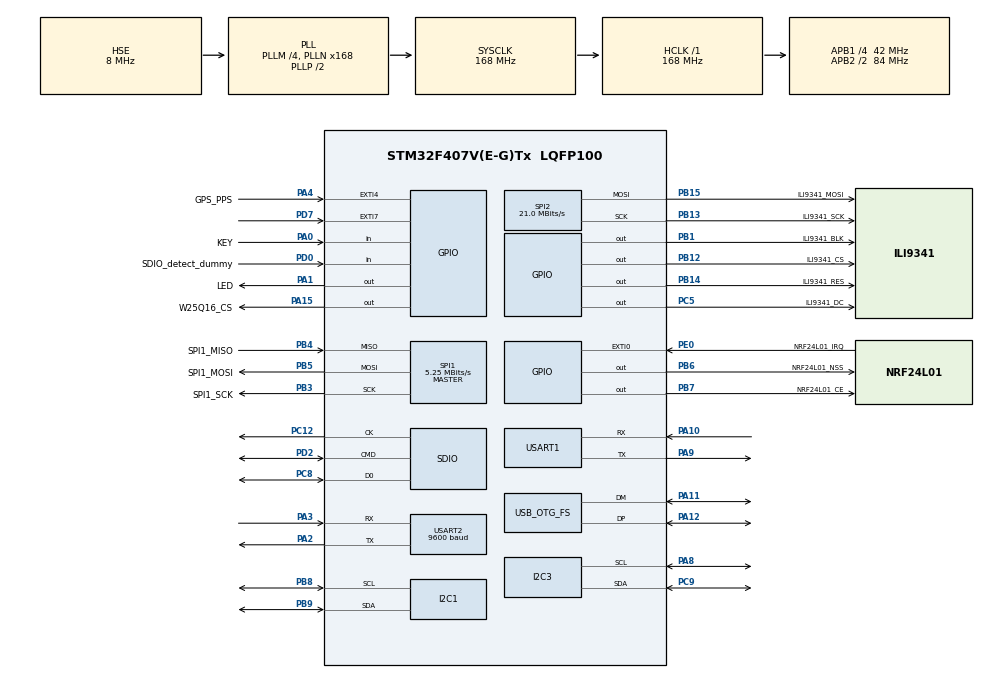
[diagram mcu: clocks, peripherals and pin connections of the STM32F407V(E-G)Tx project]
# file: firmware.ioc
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Dma.I2C1_RX.5.Direction=DMA_PERIPH_TO_MEMORY
Dma.I2C1_RX.5.FIFOMode=DMA_FIFOMODE_DISABLE
Dma.I2C1_RX.5.Instance=DMA1_Stream0
Dma.I2C1_RX.5.MemDataAlignment=DMA_MDATAALIGN_BYTE
Dma.I2C1_RX.5.MemInc=DMA_MINC_ENABLE
Dma.I2C1_RX.5.Mode=DMA_NORMAL
Dma.I2C1_RX.5.PeriphDataAlignment=DMA_PDATAALIGN_BYTE
Dma.I2C1_RX.5.PeriphInc=DMA_PINC_DISABLE
Dma.I2C1_RX.5.Priority=DMA_PRIORITY_LOW
Dma.Request0=USART1_RX
Dma.Request1=USART1_TX
Dma.Request2=SPI2_TX
Dma.Request3=SDIO_RX
Dma.Request4=SDIO_TX
Dma.Request5=I2C1_RX
Dma.Request6=USART2_RX
Dma.Request7=USART2_TX
Dma.SDIO_RX.3.Direction=DMA_PERIPH_TO_MEMORY
Dma.SDIO_RX.3.FIFOMode=DMA_FIFOMODE_ENABLE
Dma.SDIO_RX.3.FIFOThreshold=DMA_FIFO_THRESHOLD_FULL
Dma.SDIO_RX.3.Instance=DMA2_Stream3
Dma.SDIO_RX.3.MemBurst=DMA_MBURST_INC4
Dma.SDIO_RX.3.MemDataAlignment=DMA_MDATAALIGN_WORD
Dma.SDIO_RX.3.MemInc=DMA_MINC_ENABLE
Dma.SDIO_RX.3.Mode=DMA_PFCTRL
Dma.SDIO_RX.3.PeriphBurst=DMA_PBURST_INC4
Dma.SDIO_RX.3.PeriphDataAlignment=DMA_PDATAALIGN_WORD
Dma.SDIO_RX.3.PeriphInc=DMA_PINC_DISABLE
Dma.SDIO_RX.3.Priority=DMA_PRIORITY_HIGH
Dma.SDIO_TX.4.Direction=DMA_MEMORY_TO_PERIPH
Dma.SDIO_TX.4.FIFOMode=DMA_FIFOMODE_ENABLE
Dma.SDIO_TX.4.FIFOThreshold=DMA_FIFO_THRESHOLD_FULL
Dma.SDIO_TX.4.Instance=DMA2_Stream6
Dma.SDIO_TX.4.MemBurst=DMA_MBURST_INC4
Dma.SDIO_TX.4.MemDataAlignment=DMA_MDATAALIGN_WORD
Dma.SDIO_TX.4.MemInc=DMA_MINC_ENABLE
Dma.SDIO_TX.4.Mode=DMA_PFCTRL
Dma.SDIO_TX.4.PeriphBurst=DMA_PBURST_INC4
Dma.SDIO_TX.4.PeriphDataAlignment=DMA_PDATAALIGN_WORD
Dma.SDIO_TX.4.PeriphInc=DMA_PINC_DISABLE
Dma.SDIO_TX.4.Priority=DMA_PRIORITY_HIGH
Dma.SPI2_TX.2.Direction=DMA_MEMORY_TO_PERIPH
Dma.SPI2_TX.2.FIFOMode=DMA_FIFOMODE_DISABLE
Dma.SPI2_TX.2.Instance=DMA1_Stream4
Dma.SPI2_TX.2.MemDataAlignment=DMA_MDATAALIGN_BYTE
Dma.SPI2_TX.2.MemInc=DMA_MINC_ENABLE
Dma.SPI2_TX.2.Mode=DMA_NORMAL
Dma.SPI2_TX.2.PeriphDataAlignment=DMA_PDATAALIGN_BYTE
Dma.SPI2_TX.2.PeriphInc=DMA_PINC_DISABLE
Dma.SPI2_TX.2.Priority=DMA_PRIORITY_LOW
Dma.USART1_RX.0.Direction=DMA_PERIPH_TO_MEMORY
Dma.USART1_RX.0.FIFOMode=DMA_FIFOMODE_DISABLE
Dma.USART1_RX.0.Instance=DMA2_Stream2
Dma.USART1_RX.0.MemDataAlignment=DMA_MDATAALIGN_BYTE
Dma.USART1_RX.0.MemInc=DMA_MINC_ENABLE
Dma.USART1_RX.0.Mode=DMA_CIRCULAR
Dma.USART1_RX.0.PeriphDataAlignment=DMA_PDATAALIGN_BYTE
Dma.USART1_RX.0.PeriphInc=DMA_PINC_DISABLE
Dma.USART1_RX.0.Priority=DMA_PRIORITY_LOW
Dma.USART1_TX.1.Direction=DMA_MEMORY_TO_PERIPH
Dma.USART1_TX.1.FIFOMode=DMA_FIFOMODE_DISABLE
Dma.USART1_TX.1.Instance=DMA2_Stream7
Dma.USART1_TX.1.MemDataAlignment=DMA_MDATAALIGN_BYTE
Dma.USART1_TX.1.MemInc=DMA_MINC_ENABLE
Dma.USART1_TX.1.Mode=DMA_NORMAL
Dma.USART1_TX.1.PeriphDataAlignment=DMA_PDATAALIGN_BYTE
Dma.USART1_TX.1.PeriphInc=DMA_PINC_DISABLE
Dma.USART1_TX.1.Priority=DMA_PRIORITY_LOW
Dma.USART2_RX.6.Direction=DMA_PERIPH_TO_MEMORY
Dma.USART2_RX.6.FIFOMode=DMA_FIFOMODE_DISABLE
Dma.USART2_RX.6.Instance=DMA1_Stream5
Dma.USART2_RX.6.MemDataAlignment=DMA_MDATAALIGN_BYTE
Dma.USART2_RX.6.MemInc=DMA_MINC_ENABLE
Dma.USART2_RX.6.Mode=DMA_CIRCULAR
Dma.USART2_RX.6.PeriphDataAlignment=DMA_PDATAALIGN_BYTE
Dma.USART2_RX.6.PeriphInc=DMA_PINC_DISABLE
Dma.USART2_RX.6.Priority=DMA_PRIORITY_LOW
Dma.USART2_TX.7.Direction=DMA_MEMORY_TO_PERIPH
Dma.USART2_TX.7.FIFOMode=DMA_FIFOMODE_DISABLE
Dma.USART2_TX.7.Instance=DMA1_Stream6
Dma.USART2_TX.7.MemDataAlignment=DMA_MDATAALIGN_BYTE
Dma.USART2_TX.7.MemInc=DMA_MINC_ENABLE
Dma.USART2_TX.7.Mode=DMA_NORMAL
Dma.USART2_TX.7.PeriphDataAlignment=DMA_PDATAALIGN_BYTE
Dma.USART2_TX.7.PeriphInc=DMA_PINC_DISABLE
Dma.USART2_TX.7.Priority=DMA_PRIORITY_LOW
FATFS.BSP.number=1
FATFS.USE_DMA_CODE_SD=1
FATFS._CODE_PAGE=850
FATFS._FS_TINY=1
FATFS._MAX_SS=4096
FATFS._USE_LFN=1
FATFS._USE_MUTEX=1
FATFS0.BSP.STBoard=false
FATFS0.BSP.api=Unknown
FATFS0.BSP.instance=PA0-WKUP
FATFS0.BSP.ip=GPIO
FATFS0.BSP.mode=Input
FATFS0.BSP.name=Detect_SDIO
FATFS0.BSP.solution=PA0-WKUP
I2C1.I2C_Mode=I2C_Fast
I2C3.I2C_Mode=I2C_Fast
Mcu.Family=STM32F4
Mcu.Name=STM32F407V(E-G)Tx
Mcu.Package=LQFP100
NVIC.DMA1_Stream0_IRQn=true\:0\:0\:false\:false\:true\:false\:true\:true
NVIC.DMA1_Stream4_IRQn=true\:0\:0\:false\:false\:true\:false\:true\:true
NVIC.DMA1_Stream5_IRQn=true\:0\:0\:false\:false\:true\:false\:true\:true
NVIC.DMA1_Stream6_IRQn=true\:0\:0\:false\:false\:true\:false\:true\:true
NVIC.DMA2_Stream2_IRQn=true\:0\:0\:false\:false\:true\:false\:true\:true
NVIC.DMA2_Stream3_IRQn=true\:7\:0\:true\:false\:true\:false\:true\:true
NVIC.DMA2_Stream6_IRQn=true\:0\:0\:false\:false\:true\:false\:true\:true
NVIC.DMA2_Stream7_IRQn=true\:0\:0\:false\:false\:true\:false\:true\:true
NVIC.EXTI0_IRQn=true\:0\:0\:false\:false\:true\:true\:true\:true
NVIC.EXTI9_5_IRQn=true\:0\:0\:false\:false\:true\:true\:true\:true
NVIC.FPU_IRQn=true\:0\:0\:false\:false\:true\:true\:false\:true
NVIC.I2C1_ER_IRQn=true\:0\:0\:false\:false\:true\:true\:true\:true
NVIC.I2C1_EV_IRQn=true\:0\:0\:false\:false\:true\:true\:true\:true
NVIC.OTG_FS_IRQn=true\:0\:0\:false\:false\:true\:false\:true\:true
NVIC.PriorityGroup=NVIC_PRIORITYGROUP_4
NVIC.SDIO_IRQn=true\:7\:0\:true\:false\:true\:true\:true\:true
NVIC.SPI1_IRQn=true\:0\:0\:false\:false\:true\:true\:true\:true
NVIC.SPI2_IRQn=true\:0\:0\:false\:false\:true\:true\:true\:true
NVIC.TIM1_UP_TIM10_IRQn=true\:15\:0\:false\:false\:true\:false\:true\:true
NVIC.TimeBase=TIM1_UP_TIM10_IRQn
NVIC.TimeBaseIP=TIM1
NVIC.USART1_IRQn=true\:0\:0\:false\:false\:true\:true\:true\:true
NVIC.USART2_IRQn=true\:0\:0\:false\:false\:true\:true\:true\:true
PA0-WKUP.GPIO_Label=KEY
PA0-WKUP.GPIO_PuPd=GPIO_PULLDOWN
PA0-WKUP.Signal=GPIO_Input
PA1.GPIO_Label=LED
PA1.Signal=GPIO_Output
PA10.Mode=Asynchronous
PA10.Signal=USART1_RX
PA11.Mode=Device_Only
PA11.Signal=USB_OTG_FS_DM
PA12.Mode=Device_Only
PA12.Signal=USB_OTG_FS_DP
PA13.Mode=Serial_Wire
PA13.Signal=SYS_JTMS-SWDIO
PA14.Mode=Serial_Wire
PA14.Signal=SYS_JTCK-SWCLK
PA15.GPIO_Label=W25Q16_CS
PA15.Signal=GPIO_Output
PA2.Mode=Asynchronous
PA2.Signal=USART2_TX
PA3.Mode=Asynchronous
PA3.Signal=USART2_RX
PA4.GPIO_Label=GPS_PPS
PA4.Signal=GPXTI4
PA8.Mode=I2C
PA8.Signal=I2C3_SCL
PA9.Mode=Asynchronous
PA9.Signal=USART1_TX
PB1.GPIO_Label=ILI9341_BLK
PB1.GPIO_Speed=GPIO_SPEED_FREQ_VERY_HIGH
PB1.Signal=GPIO_Output
PB12.GPIO_Label=ILI9341_CS
PB12.GPIO_Speed=GPIO_SPEED_FREQ_VERY_HIGH
PB12.Signal=GPIO_Output
PB13.GPIO_Label=ILI9341_SCK
PB13.Mode=TX_Only_Simplex_Unidirect_Master
PB13.Signal=SPI2_SCK
PB14.GPIO_Label=ILI9341_RES
PB14.GPIO_Speed=GPIO_SPEED_FREQ_VERY_HIGH
PB14.Signal=GPIO_Output
PB15.GPIO_Label=ILI9341_MOSI
PB15.Mode=TX_Only_Simplex_Unidirect_Master
PB15.Signal=SPI2_MOSI
PB3.GPIO_Label=SPI1_SCK
PB3.Mode=Full_Duplex_Master
PB3.Signal=SPI1_SCK
PB4.GPIO_Label=SPI1_MISO
PB4.Mode=Full_Duplex_Master
PB4.Signal=SPI1_MISO
PB5.GPIO_Label=SPI1_MOSI
PB5.Mode=Full_Duplex_Master
PB5.Signal=SPI1_MOSI
PB6.GPIO_Label=NRF24L01_NSS
PB6.Signal=GPIO_Output
PB7.GPIO_Label=NRF24L01_CE
PB7.Signal=GPIO_Output
PB8.GPIO_Pu=GPIO_PULLUP
PB8.Mode=I2C
PB8.Signal=I2C1_SCL
PB9.GPIO_Pu=GPIO_PULLUP
PB9.Mode=I2C
PB9.Signal=I2C1_SDA
PC12.GPIO_PuPd=GPIO_PULLUP
PC12.Mode=SD_1_bit
PC12.Signal=SDIO_CK
PC14-OSC32_IN.Mode=LSE-External-Oscillator
PC14-OSC32_IN.Signal=RCC_OSC32_IN
PC15-OSC32_OUT.Mode=LSE-External-Oscillator
PC15-OSC32_OUT.Signal=RCC_OSC32_OUT
PC5.GPIO_Label=ILI9341_DC
PC5.GPIO_Speed=GPIO_SPEED_FREQ_VERY_HIGH
PC5.Signal=GPIO_Output
PC8.GPIO_PuPd=GPIO_PULLUP
PC8.Mode=SD_1_bit
PC8.Signal=SDIO_D0
PC9.Mode=I2C
PC9.Signal=I2C3_SDA
PD0.GPIO_Label=SDIO_detect_dummy
PD0.GPIO_PuPd=GPIO_PULLDOWN
PD0.Signal=GPIO_Input
PD2.GPIO_PuPd=GPIO_PULLUP
PD2.Mode=SD_1_bit
PD2.Signal=SDIO_CMD
PD7.GPIO_ModeDefaultEXTI=GPIO_MODE_IT_FALLING
PD7.GPIO_PuPd=GPIO_PULLUP
PD7.Signal=GPXTI7
PE0.GPIO_Label=NRF24L01_IRQ
PE0.GPIO_ModeDefaultEXTI=GPIO_MODE_IT_FALLING
PE0.GPIO_PuPd=GPIO_PULLUP
PE0.Signal=GPXTI0
PH0-OSC_IN.Mode=HSE-External-Oscillator
PH0-OSC_IN.Signal=RCC_OSC_IN
PH1-OSC_OUT.Mode=HSE-External-Oscillator
PH1-OSC_OUT.Signal=RCC_OSC_OUT
ProjectManager.HeapSize=0x4000
ProjectManager.StackSize=0x8000
ProjectManager.TargetToolchain=Makefile
RCC.48MHZClocksFreq_Value=48000000
RCC.AHBFreq_Value=168000000
RCC.APB1CLKDivider=RCC_HCLK_DIV4
RCC.APB1Freq_Value=42000000
RCC.APB1TimFreq_Value=84000000
RCC.APB2CLKDivider=RCC_HCLK_DIV2
RCC.APB2Freq_Value=84000000
RCC.APB2TimFreq_Value=168000000
RCC.CortexFreq_Value=168000000
RCC.HCLKFreq_Value=168000000
RCC.HSE_VALUE=8000000
RCC.HSI_VALUE=16000000
RCC.PLLM=4
RCC.PLLN=168
RCC.PLLQ=7
RCC.RCC_RTC_Clock_Source=RCC_RTCCLKSOURCE_LSE
RCC.RCC_RTC_Clock_SourceVirtual=RCC_RTCCLKSOURCE_LSE
RCC.SYSCLKFreq_VALUE=168000000
RCC.SYSCLKSource=RCC_SYSCLKSOURCE_PLLCLK
RCC.VCOOutputFreq_Value=336000000
SDIO.ClockDiv=4
SPI1.BaudRatePrescaler=SPI_BAUDRATEPRESCALER_16
SPI1.CalculateBaudRate=5.25 MBits/s
SPI1.Direction=SPI_DIRECTION_2LINES
SPI1.Mode=SPI_MODE_MASTER
SPI1.VirtualType=VM_MASTER
SPI2.CLKPhase=SPI_PHASE_2EDGE
SPI2.CLKPolarity=SPI_POLARITY_HIGH
SPI2.CalculateBaudRate=21.0 MBits/s
SPI2.Direction=SPI_DIRECTION_2LINES
SPI2.Mode=SPI_MODE_MASTER
SPI2.TIMode=SPI_TIMODE_DISABLE
SPI2.VirtualType=VM_MASTER
USART1.VirtualMode=VM_ASYNC
USART2.BaudRate=9600
USART2.VirtualMode=VM_ASYNC
USB_DEVICE.CLASS_NAME_FS=MSC
USB_DEVICE.VirtualMode-MSC_FS=Msc
USB_DEVICE.VirtualModeFS=Msc_FS
USB_OTG_FS.VirtualMode=Device_Only
VP_FATFS_VS_SDIO.Mode=SDIO
VP_RNG_VS_RNG.Mode=RNG_Activate
VP_RTC_VS_RTC_Activate.Mode=RTC_Enabled
VP_SYS_VS_tim1.Mode=TIM1
VP_USB_DEVICE_VS_USB_DEVICE_MSC_FS.Mode=MSC_FS
board=custom

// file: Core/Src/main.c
/* USER CODE BEGIN Header */
/**
  ******************************************************************************
  * @file           : main.c
  * @brief          : Main program body
  ******************************************************************************
  * @attention
  *
  * Copyright (c) 2025 STMicroelectronics.
  * All rights reserved.
  *
  * This software is licensed under terms that can be found in the LICENSE file
  * in the root directory of this software component.
  * If no LICENSE file comes with this software, it is provided AS-IS.
  *
  ******************************************************************************
  */
/* USER CODE END Header */
#include "main.h"
#include "dma.h"
#include "fatfs.h"
#include "i2c.h"
#include "rng.h"
#include "rtc.h"
#include "sdio.h"
#include "spi.h"
#include "usart.h"
#include "usb_device.h"
#include "gpio.h"

/* USER CODE BEGIN Includes */
#include <stdio.h>

#include "micros.h"
#include "retarget.h"

#include "ucmd.h"
#include "ucmd_time.h"
#include "memory_man.h"
#include "coremark.h"

#include "fatfs.h"

#include "mpu6050.h"

#include "i2c_tools.h"

#include "ili9341.h"

#include "bmp.h"

#include "ucmd_time_HAL.h"

/* USER CODE END Includes */

/* USER CODE BEGIN PTD */
// #ifndef VERSION
// #define VERSION "Dev build 0.00"
// const unsigned char build_version[] = VERSION " " __DATE__ " "__TIME__;
// #endif /* VERSION */
/* USER CODE END PTD */

/* USER CODE BEGIN PD */
// #define PAGE_SIZE 4096
/* USER CODE END PD */

void SystemClock_Config(void);

/* USER CODE BEGIN 0 */

int ucmd_mcu_reset(int argc, char ** argv) {
  NVIC_SystemReset();
  return -1;
}

#include <errno.h>
#include <string.h>
#include "fatfs.h"

#define ENDL "\r\n"
#define BUFFER_SIZE 128

// Глобальные объекты FatFS
static FATFS fs;
static DIR dir;
static FIL fil;
static char path[4] = "0:/";
static uint8_t is_mounted = 0;

int ucmd_sd(int argc, char **argv) {
    switch (argc) {
        case 1:
            printf("Usage: sd <command>" ENDL);
            printf("Commands: mount, unmount, ls, rm <file>, cat <file>, touch <file>, mkdir <dir>" ENDL);
            return -EINVAL;

        case 2:
            if (strcmp(argv[1], "mount") == 0) {
                // Монтирование SD-карты
                FRESULT res = f_mount(&fs, path, 1);
                if (res != FR_OK) {
                    printf("Mount error: %d" ENDL, res);
                    return -EIO;
                }
                is_mounted = 1;
                printf("SD mounted" ENDL);
                return 0;

            } else if (strcmp(argv[1], "unmount") == 0) {
                // Демонтирование SD-карты
                if (!is_mounted) {
                    printf("Not mounted!" ENDL);
                    return -EIO;
                }
                f_mount(NULL, path, 0);
                is_mounted = 0;
                printf("SD unmounted" ENDL);
                return 0;

            } else if (strcmp(argv[1], "ls") == 0) {
                // Вывод содержимого каталога
                if (!is_mounted) {
                    printf("Mount first!" ENDL);
                    return -EIO;
                }

                FRESULT res;
                FILINFO fno;

                res = f_opendir(&dir, path);
                if (res != FR_OK) {
                    printf("Open dir error: %d" ENDL, res);
                    return -EIO;
                }

                printf("Directory listing:" ENDL);
                for (;;) {
                    res = f_readdir(&dir, &fno);
                    if (res != FR_OK || fno.fname[0] == 0) break;

                    if (fno.fattrib & AM_DIR)
                        printf("  [DIR]  %s" ENDL, fno.fname);
                    else
                        printf("  [FILE] %s (%lu bytes)" ENDL, fno.fname, fno.fsize);
                }
                f_closedir(&dir);
                return 0;
            }
            break;

        case 3:
            if (strcmp(argv[1], "rm") == 0) {
                // Удаление файла
                if (!is_mounted) {
                    printf("Mount first!" ENDL);
                    return -EIO;
                }

                FRESULT res = f_unlink(argv[2]);
                if (res != FR_OK) {
                    printf("Delete error: %d" ENDL, res);
                    return -EIO;
                }
                printf("File '%s' deleted" ENDL, argv[2]);
                return 0;

            } else if (strcmp(argv[1], "cat") == 0) {
                // Вывод содержимого файла
                if (!is_mounted) {
                    printf("Mount first!" ENDL);
                    return -EIO;
                }

                FRESULT res = f_open(&fil, argv[2], FA_READ);
                if (res != FR_OK) {
                    printf("Open error: %d" ENDL, res);
                    return -EIO;
                }

                UINT bytes_read;
                char buffer[BUFFER_SIZE];
                printf("File content:" ENDL);
                do {
                    res = f_read(&fil, buffer, BUFFER_SIZE - 1, &bytes_read);
                    if (res != FR_OK) {
                        f_close(&fil);
                        printf("Read error: %d" ENDL, res);
                        return -EIO;
                    }
                    buffer[bytes_read] = 0; // NULL-terminator
                    printf("%s", buffer);
                } while (bytes_read == BUFFER_SIZE - 1);

                f_close(&fil);
                printf(ENDL);
                return 0;

            } else if (strcmp(argv[1], "touch") == 0) {
                // Создание пустого файла
                if (!is_mounted) {
                    printf("Mount first!" ENDL);
                    return -EIO;
                }

                FRESULT res = f_open(&fil, argv[2], FA_CREATE_ALWAYS | FA_WRITE);
                if (res != FR_OK) {
                    printf("Create error: %d" ENDL, res);
                    return -EIO;
                }

                // Важно: закрываем файл сразу после создания
                f_close(&fil);
                printf("File created: %s" ENDL, argv[2]);
                return 0;

            } else if (strcmp(argv[1], "mkdir") == 0) {
                // Создание директории
                if (!is_mounted) {
                    printf("Mount first!" ENDL);
                    return -EIO;
                }

                FRESULT res = f_mkdir(argv[2]);
                if (res != FR_OK) {
                    printf("Mkdir error: %d" ENDL, res);
                    return -EIO;
                }

                printf("Directory created: %s" ENDL, argv[2]);
                return 0;
            }
            break;
    }

    printf("Invalid command or arguments!" ENDL);
    printf("Usage: sd <mount|unmount|ls|rm|cat|touch|mkdir>" ENDL);
    return -EINVAL;
}

#undef ENDL

// test code
MPU6050_t mpu;
int imu_show(void) {
  // MPU6050_Read_All(&hi2c1, &mpu);
  printf("mpu.Ax = %f\r\n", mpu.Ax);
  printf("mpu.Ay = %f\r\n", mpu.Ay);
  printf("mpu.Az = %f\r\n", mpu.Az);

  printf("mpu.Gx = %f\r\n", mpu.Gx);
  printf("mpu.Gy = %f\r\n", mpu.Gy);
  printf("mpu.Gz = %f\r\n", mpu.Gz);

  printf("mpu.KalmanAngleX = %f\r\n", mpu.KalmanAngleX);
  printf("mpu.KalmanAngleY = %f\r\n", mpu.KalmanAngleY);

  printf("mpu.Temperature = %f\r\n", mpu.Temperature);
  return 0;
}

int imu_show(void);

// ucmd handler for mem_dump.
int ucmd_imu(int argc, char *argv[])
{
  // static uint32_t argv2 = 0;
  // static uint32_t argv3 = 0;
  // static uint32_t argv4 = 0;
  // static uint16_t argv5 = 0;

  switch (argc) {
    case 1:
    printf("imu usage: imu show | irq_en | irq_dis\r\n");
    goto ok;
    break;
    case 2:
    if(strcmp(&argv[1][0], "show") == 0) {
      imu_show();
      goto ok;
    }
    if(strcmp(&argv[1][0], "init") == 0) {
      MPU6050_Init(&hi2c1);
      goto ok;
    }

    if(strcmp(&argv[1][0], "irq_en") == 0) {
      MPU6050_Enable_irq(&hi2c1, &mpu);
      goto ok;
    }
    if(strcmp(&argv[1][0], "irq_dis") == 0) {
      MPU6050_Diasble_irq(&hi2c1, &mpu);
      // HAL_GPIO_WritePin(LED_GPIO_Port, LED_Pin, GPIO_PIN_SET);
      goto ok;
    }
    break;

    default:
    goto err;
    break;
  }

  goto err;
  ok: return 0;
  err: printf("imu say: ups...\r\n");
  return -1;
}

#include "terminal.h"
#include "term_gxf.h"
#define ENDL "\r\n"
int ucmd_term_test(int argc, char *argv[]) {
    if(argc < 2) {
        // Вывод справки, если нет аргументов
        printf("Usage: term <command> [args]" ENDL);
        printf("Commands:" ENDL);
        printf("  cls                  Clear screen" ENDL);
        printf("  text <string>        Print text" ENDL);
        printf("  color <fg> [bg]      Set colors" ENDL);
        printf("  cursor <row> <col>   Set cursor position" ENDL);
        printf("  ili                  Test direct char output" ENDL);
        return 0;
    }

    char *command = argv[1];

    if(strcmp(command, "cls") == 0) {
        // Очистка экрана
        terminal_input_data(ESC "[2J", sizeof(ESC "[2J") - 1);
    }
    else if(strcmp(command, "text") == 0 && argc >= 3) {
        // Вывод текста
        char *text = argv[2];
        terminal_input_data(text, strlen(text));

        // Добавляем перевод строки, если текст не заканчивается на \n
        if(text[strlen(text)-1] != '\n') {
            terminal_input_data("\n", 1);
        }
    }
    else if(strcmp(command, "color") == 0 && argc >= 3) {
        // Установка цвета
        char color_cmd[32];
        int bg = -1;
        int fg = atoi(argv[2]);

        if(argc >= 4) {
            bg = atoi(argv[3]);
        }

        if(bg >= 0) {
            snprintf(color_cmd, sizeof(color_cmd), ESC "[%d;%dm", fg, bg);
        } else {
            snprintf(color_cmd, sizeof(color_cmd), ESC "[%dm", fg);
        }

        terminal_input_data(color_cmd, strlen(color_cmd));
    }
    else if(strcmp(command, "cursor") == 0 && argc >= 4) {
        // Установка позиции курсора
        int row = atoi(argv[2]);
        int col = atoi(argv[3]);
        char cursor_cmd[32];

        snprintf(cursor_cmd, sizeof(cursor_cmd), ESC "[%d;%dH", row, col);
        terminal_input_data(cursor_cmd, strlen(cursor_cmd));
    }
    else if(strcmp(command, "ili") == 0) {
        // Прямой вывод символа
        ILI9341_Select();
        ILI9341_WriteChar(0, 0, 'U', Font_7x10, 0xffff, 0x0000);
        ILI9341_Unselect();
    }
    else {
        printf("Unknown command or missing arguments" ENDL);
        return -1;
    }

    return 0;
}

#ifdef ENDL
#undef ENDL
#endif // ENDL

// define command list
command_t cmd_list[] = {
  {
    .cmd  = "help",
    .help = "print available commands with their help text",
    .fn   = print_help_cb,
  },

  {
    .cmd  = "reset",
    .help = "reset mcu",
    .fn   = ucmd_mcu_reset,
  },

  {
    .cmd  = "mem",
    .help = "memory man, use mem help",
    .fn   = ucmd_mem,
  },

  {
    .cmd  = "time",
    .help = "rtc time. to set type time hh mm ss",
    .fn   = ucmd_time,
  },

  {
    .cmd  = "coremark",
    .help = "coremark",
    .fn   = coremark,
  },

  {
    .cmd  = "sd",
    .help = "sd card test utils",
    .fn   = ucmd_sd,
  },

  {
    .cmd  = "imu",
    .help = "imu test code",
    .fn   = ucmd_imu,
  },

  {
    .cmd  = "i2c",
    .help = "i2c tool",
    .fn   = ucmd_i2c,
  },

  {
    .cmd  = "bmp",
    .help = "bmp tool",
    .fn   = ucmd_bmp,
  },

  {
    .cmd  = "term",
    .help = "term test",
    .fn   = ucmd_term_test,
  },

  {}, // null list terminator DON'T FORGET THIS!
};

void HAL_GPIO_EXTI_Callback(uint16_t GPIO_Pin) {

  if(GPIO_Pin == GPIO_PIN_7) {
    MPU6050_Read_All(&hi2c1, &mpu);
  } else

  if(GPIO_Pin == NRF24L01_IRQ_Pin) {
    // NRF24L01_EXTI_IRQHandler(&nrf24L01Config);
    // HAL_GPIO_TogglePin(LED_GPIO_Port, LED_Pin);
  } else

  if(GPIO_Pin == GPS_PPS_Pin) {

  }

}

uint8_t uart_gps_buf[2];

/* USER CODE END 0 */

int main(void)
{

  /* MCU Configuration--------------------------------------------------------*/

  /* Reset of all peripherals, Initializes the Flash interface and the Systick. */
  HAL_Init();

  /* Configure the system clock */
  SystemClock_Config();

  /* Initialize all configured peripherals */
  MX_GPIO_Init();
  MX_DMA_Init();
  MX_SPI1_Init();
  MX_USART1_UART_Init();
  MX_SDIO_SD_Init();
  MX_RTC_Init();
  MX_SPI2_Init();
  MX_RNG_Init();
  MX_FATFS_Init();
  MX_USB_DEVICE_Init();
  MX_I2C3_Init();
  MX_I2C1_Init();
  MX_USART2_UART_Init();
  /* USER CODE BEGIN 2 */
  us_init();
  printf_init();
  ucmd_default_init();

  ILI9341_Init();
  ILI9341_back_light(1);
  // ILI9341_WriteString(0, 0, "init done", Font_11x18, 0xffff, 0x0000);
  // ILI9341_WriteString(0, Font_11x18.height*1, "red", Font_11x18, ILI9341_COLOR565(0xff, 0x00, 0x00), 0x0000);
  // ILI9341_WriteString(0, Font_11x18.height*2, "green", Font_11x18, ILI9341_COLOR565(0x00, 0xff, 0x00), 0x0000);
  // ILI9341_WriteString(0, Font_11x18.height*3, "blue", Font_11x18, ILI9341_COLOR565(0x00, 0x00, 0xff), 0x0000);

  BMP_draw_pixel = ILI9341_DrawPixel;
  BMP_scr_width = ILI9341_WIDTH;
  BMP_scr_heigth = ILI9341_HEIGHT;

  if(!ucmd_sd(2, (char*[]){"sd ", "mount"})) {
    printf("SD card mount!\r\n");
    ucmd_bmp(3, (char*[]){"bmp", "load", "0:/eva.bmp"});
  }
  else{printf("SD card not mount!!!\r\n");}

  // draw_pixel = ILI9341_DrawPixel;
  ucmd_imu(2, (char*[]){"imu", "init"});
  ucmd_imu(2, (char*[]){"imu", "irq_en"});

  HAL_UART_Receive_DMA(&huart2, uart_gps_buf, sizeof(uart_gps_buf));
  /* USER CODE END 2 */

  /* Infinite loop */
  /* USER CODE BEGIN WHILE */
  while (1)
  {
    static int led_cnt = 0;
    if(led_cnt++ % 128 == 0) {
      HAL_GPIO_TogglePin(LED_GPIO_Port, LED_Pin);
      time_update();
      char term_data[12];
      // set coordinats time
      snprintf(term_data, sizeof(term_data), ESC "[%d;%dH", 0, 38);
      terminal_input_data(term_data, strlen(term_data));
      // draw time
      snprintf(term_data, sizeof(term_data), "%02u:%02u:%02u", time.Hours, time.Minutes, time.Seconds);
      terminal_input_data(term_data, strlen(term_data));

      //
      // MPU6050_Read_All(&hi2c1, &mpu);
      snprintf(term_data, sizeof(term_data), ESC "[%d;%dH", 13, 20);
      terminal_input_data(term_data, strlen(term_data));
      snprintf(term_data, sizeof(term_data), "%0.2f:%0.2f", mpu.KalmanAngleX, mpu.KalmanAngleY);
      terminal_input_data(term_data, strlen(term_data));

    }
    ucmd_default_proc();
    printf_flush();
    delay_us(800);

    /* USER CODE END WHILE */

  }
}

void SystemClock_Config(void)
{
  RCC_OscInitTypeDef RCC_OscInitStruct = {0};
  RCC_ClkInitTypeDef RCC_ClkInitStruct = {0};

  /** Configure the main internal regulator output voltage
  */
  __HAL_RCC_PWR_CLK_ENABLE();
  __HAL_PWR_VOLTAGESCALING_CONFIG(PWR_REGULATOR_VOLTAGE_SCALE1);

  /** Initializes the RCC Oscillators according to the specified parameters
  * in the RCC_OscInitTypeDef structure.
  */
  RCC_OscInitStruct.OscillatorType = RCC_OSCILLATORTYPE_HSE|RCC_OSCILLATORTYPE_LSE;
  RCC_OscInitStruct.HSEState = RCC_HSE_ON;
  RCC_OscInitStruct.LSEState = RCC_LSE_ON;
  RCC_OscInitStruct.PLL.PLLState = RCC_PLL_ON;
  RCC_OscInitStruct.PLL.PLLSource = RCC_PLLSOURCE_HSE;
  RCC_OscInitStruct.PLL.PLLM = 4;
  RCC_OscInitStruct.PLL.PLLN = 168;
  RCC_OscInitStruct.PLL.PLLP = RCC_PLLP_DIV2;
  RCC_OscInitStruct.PLL.PLLQ = 7;
  if (HAL_RCC_OscConfig(&RCC_OscInitStruct) != HAL_OK)
  {
    Error_Handler();
  }

  /** Initializes the CPU, AHB and APB buses clocks
  */
  RCC_ClkInitStruct.ClockType = RCC_CLOCKTYPE_HCLK|RCC_CLOCKTYPE_SYSCLK
                              |RCC_CLOCKTYPE_PCLK1|RCC_CLOCKTYPE_PCLK2;
  RCC_ClkInitStruct.SYSCLKSource = RCC_SYSCLKSOURCE_PLLCLK;
  RCC_ClkInitStruct.AHBCLKDivider = RCC_SYSCLK_DIV1;
  RCC_ClkInitStruct.APB1CLKDivider = RCC_HCLK_DIV4;
  RCC_ClkInitStruct.APB2CLKDivider = RCC_HCLK_DIV2;

  if (HAL_RCC_ClockConfig(&RCC_ClkInitStruct, FLASH_LATENCY_5) != HAL_OK)
  {
    Error_Handler();
  }
}

/* USER CODE BEGIN 4 */

void HAL_UART_ErrorCallback(UART_HandleTypeDef *huart)
{
  if(huart->Instance == USART1) {
    CLEAR_BIT(huart->Instance->CR2, (USART_CR2_LINEN  | USART_CR2_CLKEN));
    CLEAR_BIT(huart->Instance->CR3, (USART_CR3_SCEN   |\
                                     USART_CR3_HDSEL  | USART_CR3_IREN));
    huart->ErrorCode  = HAL_UART_ERROR_NONE;
    huart->gState     = HAL_UART_STATE_READY;
    huart->RxState    = HAL_UART_STATE_READY;

    // __HAL_UART_ENABLE_IT(&huart1, UART_IT_IDLE);
    HAL_UART_Receive_DMA(&huart1, uart_dma_buf, sizeof(uart_dma_buf));
  }

  if(huart->Instance == USART2) {
    CLEAR_BIT(huart->Instance->CR2, (USART_CR2_LINEN  | USART_CR2_CLKEN));
    CLEAR_BIT(huart->Instance->CR3, (USART_CR3_SCEN   |\
                                     USART_CR3_HDSEL  | USART_CR3_IREN));
    huart->ErrorCode  = HAL_UART_ERROR_NONE;
    huart->gState     = HAL_UART_STATE_READY;
    huart->RxState    = HAL_UART_STATE_READY;

    // __HAL_UART_ENABLE_IT(&huart1, UART_IT_IDLE);
    HAL_UART_Receive_DMA(&huart2, uart_gps_buf, sizeof(uart_gps_buf));
  }
}

void HAL_UART_RxCpltCallback(UART_HandleTypeDef *huart)
{
  if(huart->Instance == USART1) {
    u1_rx_callback(uart_dma_buf[1]);
  }else
  if(huart->Instance == USART2) {
    // printf("%c", uart_gps_buf[1]);
  }
}

void HAL_UART_RxHalfCpltCallback(UART_HandleTypeDef *huart)
{
  if(huart->Instance == USART1) {
    u1_rx_callback(uart_dma_buf[0]);
  }else
  if(huart->Instance == USART2) {
    // printf("%c", uart_gps_buf[0]);
  }
}

/* USER CODE END 4 */

void HAL_TIM_PeriodElapsedCallback(TIM_HandleTypeDef *htim)
{
  if (htim->Instance == TIM1) {
    HAL_IncTick();
  }
}

void Error_Handler(void)
{
  __disable_irq();
  while (1)
  {
  }
}
